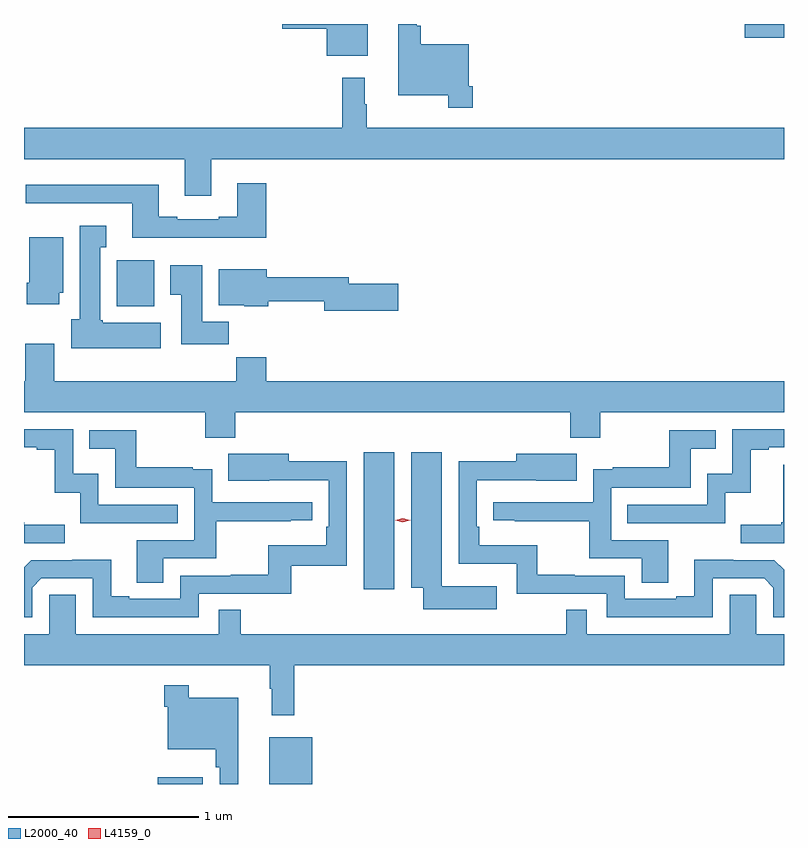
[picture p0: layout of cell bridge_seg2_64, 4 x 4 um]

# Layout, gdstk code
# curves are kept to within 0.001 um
import gdstk
lib = gdstk.Library(unit=1e-6, precision=1e-09)
def R(c, l, rs):  # rectangles x0, y0, x1, y1
    for r in rs: c.add(gdstk.rectangle(r[:2], r[2:], *l))
def P(c, l, *ps):  # polygons
    for p in ps: c.add(gdstk.Polygon(p, *l))
L2000_40 = (2000, 40)
L4159_0 = (4159, 0)

bridge_seg2_64 = lib.new_cell('bridge_seg2_64')
R(bridge_seg2_64, L2000_40, [(987.422,609.715,987.658,609.751), (988.007,609.715,988.234,609.961), (988.505,610.74,988.666,611.461), (987.206,612.23,987.403,612.472), (990.51,613.642,990.717,613.715)])
P(bridge_seg2_64, L2000_40, [(988.525,613.715),(988.076,613.715),(988.076,613.691),(988.31,613.691),(988.31,613.547),(988.525,613.547)],
  [(989.078,613.387),(989.058,613.387),(989.058,613.609),(988.805,613.609),(988.805,613.705),(988.785,613.705),(988.785,613.715),(988.688,613.715),(988.688,613.34),(988.95,613.34),(988.95,613.275),(989.078,613.275)],
  [(987.703,613.004),(990.717,613.004),(990.717,613.168),(988.522,613.168),(988.522,613.292),(988.51,613.292),(988.51,613.432),(988.393,613.432),(988.393,613.168),(986.717,613.168),(986.717,613.004),(987.563,613.004),(987.563,612.81),(987.703,612.81)],
  [(987.992,612.877),(987.839,612.877),(987.839,612.7),(987.743,612.7),(987.743,612.687),(987.523,612.687),(987.523,612.7),(987.427,612.7),(987.427,612.868),(986.727,612.868),(986.727,612.771),(987.287,612.771),(987.287,612.59),(987.992,612.59)],
  [(987.436,612.142),(987.132,612.142),(987.132,612.156),(987.118,612.156),(987.118,612.539),(987.151,612.539),(987.151,612.652),(987.011,612.652),(987.011,612.162),(986.966,612.162),(986.966,612.008),(987.436,612.008)],
  [(986.902,612.3),(986.923,612.3),(986.923,612.592),(986.744,612.592),(986.744,612.352),(986.732,612.352),(986.732,612.24),(986.902,612.24)],
  [(987.794,612.148),(987.655,612.148),(987.655,612.445),(987.488,612.445),(987.488,612.289),(987.545,612.289),(987.545,612.03),(987.794,612.03)],
  [(988.687,612.347),(988.426,612.347),(988.426,612.383),(987.994,612.383),(987.994,612.424),(987.743,612.424),(987.743,612.236),(987.876,612.236),(987.876,612.23),(988.002,612.23),(988.002,612.255),(988.298,612.255),(988.298,612.205),(988.687,612.205)],
  [(987.83,611.672),(989.591,611.672),(989.591,611.537),(989.751,611.537),(989.751,611.672),(990.717,611.672),(990.717,611.836),(987.992,611.836),(987.992,611.96),(987.835,611.96),(987.835,611.836),(986.875,611.836),(986.875,612.031),(986.723,612.031),(986.723,611.836),(986.717,611.836),(986.717,611.672),(987.67,611.672),(987.67,611.537),(987.83,611.537)],
  [(987.527,611.184),(987.108,611.184),(987.108,611.347),(986.976,611.347),(986.976,611.583),(986.717,611.583),(986.717,611.487),(986.783,611.487),(986.783,611.475),(986.879,611.475),(986.879,611.249),(987.012,611.249),(987.012,611.088),(987.527,611.088)],
  [(990.408,611.249),(990.541,611.249),(990.541,611.475),(990.637,611.475),(990.637,611.487),(990.717,611.487),(990.717,611.583),(990.444,611.583),(990.444,611.347),(990.312,611.347),(990.312,611.184),(989.893,611.184),(989.893,611.088),(990.408,611.088)],
  [(987.451,610.902),(987.728,610.902),(987.728,611.098),(988.121,611.098),(988.121,611.103),(988.234,611.103),(988.234,611.199),(987.708,611.199),(987.708,611.371),(987.605,611.371),(987.605,611.383),(987.307,611.383),(987.307,611.577),(987.061,611.577),(987.061,611.48),(987.196,611.48),(987.196,611.274),(987.612,611.274),(987.612,610.998),(987.311,610.998),(987.311,610.774),(987.451,610.774)],
  [(990.109,610.998),(989.808,610.998),(989.808,611.274),(990.225,611.274),(990.225,611.48),(990.359,611.48),(990.359,611.577),(990.114,611.577),(990.114,611.383),(989.815,611.383),(989.815,611.371),(989.712,611.371),(989.712,611.199),(989.187,611.199),(989.187,611.103),(989.299,611.103),(989.299,611.098),(989.692,611.098),(989.692,610.902),(989.969,610.902),(989.969,610.774),(990.109,610.774)],
  [(989.206,610.756),(988.915,610.756),(988.915,611.461),(988.754,611.461),(988.754,610.748),(988.817,610.748),(988.817,610.634),(989.206,610.634)],
  [(990.342,610.797),(990.612,610.797),(990.66,610.749),(990.66,610.593),(990.717,610.593),(990.717,610.842),(990.666,610.893),(990.45,610.893),(990.45,610.895),(990.245,610.895),(990.245,610.702),(990.149,610.702),(990.149,610.689),(989.88,610.689),(989.88,610.812),(989.615,610.812),(989.615,610.817),(989.419,610.817),(989.419,610.972),(989.114,610.972),(989.114,611.068),(989.1,611.068),(989.1,611.313),(989.627,611.312),(989.627,611.452),(989.309,611.452),(989.309,611.414),(989.004,611.414),(989.004,610.875),(989.31,610.875),(989.31,610.716),(989.784,610.716),(989.784,610.593),(990.342,610.593)],
  [(986.76,610.749),(986.808,610.797),(987.078,610.797),(987.078,610.593),(987.636,610.593),(987.636,610.716),(988.123,610.716),(988.123,610.863),(988.416,610.863),(988.416,611.414),(988.111,611.414),(988.111,611.452),(987.793,611.452),(987.793,611.312),(988.32,611.313),(988.32,611.068),(988.307,611.068),(988.307,610.972),(988.002,610.972),(988.002,610.817),(987.805,610.817),(987.805,610.812),(987.54,610.812),(987.54,610.689),(987.271,610.689),(987.271,610.702),(987.175,610.702),(987.175,610.895),(986.97,610.895),(986.97,610.893),(986.754,610.893),(986.717,610.856),(986.717,610.593),(986.76,610.593)],
  [(990.717,611.395),(990.713,611.395),(990.713,611.092),(990.702,611.092),(990.702,611.08),(990.489,611.08),(990.489,610.983),(990.717,610.983)],
  [(986.932,611.08),(986.719,611.08),(986.719,611.092),(986.717,611.092),(986.717,610.983),(986.932,610.983)],
  [(990.717,610.504),(990.57,610.504),(990.57,610.712),(990.431,610.712),(990.431,610.504),(989.679,610.504),(989.679,610.631),(989.571,610.631),(989.571,610.504),(987.857,610.504),(987.857,610.631),(987.741,610.631),(987.741,610.504),(986.989,610.504),(986.989,610.712),(986.85,610.712),(986.85,610.504),(986.717,610.504),(986.717,610.34),(988.011,610.34),(988.011,610.217),(988.022,610.217),(988.022,610.077),(988.139,610.077),(988.139,610.34),(990.717,610.34)],
  [(987.844,610.168),(987.583,610.168),(987.583,610.234),(987.454,610.234),(987.454,610.121),(987.474,610.121),(987.474,609.899),(987.727,609.899),(987.727,609.803),(987.747,609.803),(987.747,609.715),(987.844,609.715)])
P(bridge_seg2_64, L4159_0, [(988.71,611.093),(988.67,611.103),(988.67,611.103),(988.67,611.104),(988.71,611.113),(988.75,611.104),(988.75,611.104),(988.75,611.103)])

lib.write_gds('bridge_seg2_64.gds')
